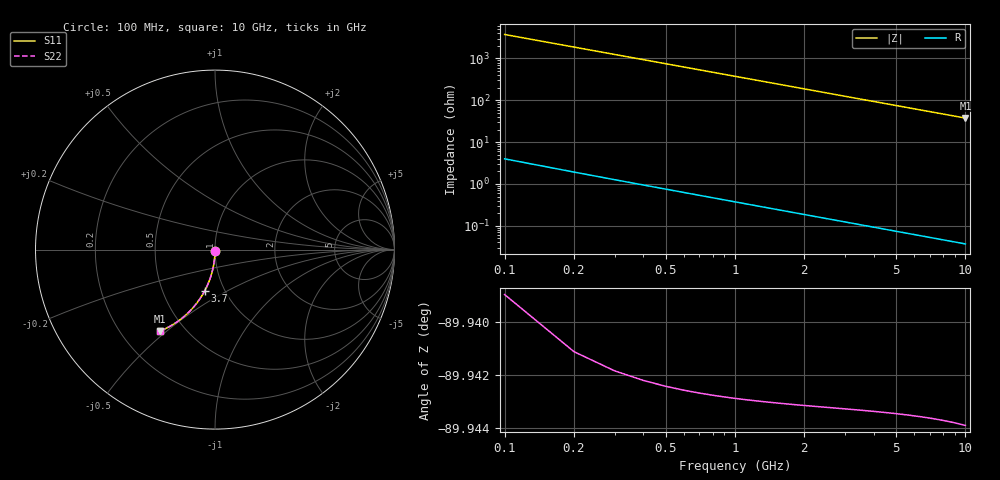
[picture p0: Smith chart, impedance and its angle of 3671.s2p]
# Hz S RI R 50.00
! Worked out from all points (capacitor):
!   100 points, 100 MHz to 10 GHz, reference 50 ohm
!   read as one part in shunt: C = 425 fF near 100 MHz
!   lowest |Z| = 37.6 ohm at 10 GHz (marker M1)
!   S11 on the Smith chart (normalised r, x): 100 MHz: 1.00, -0.01; 3.7 GHz: 0.81, -0.39; 10 GHz: 0.36, -0.47
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1e8  -3.03e-05 -0.00661  0.9999 -0.00674  0.9999 -0.00674  -3.03e-05 -0.00661
2e8  -0.00017 -0.0132  0.9998 -0.0135  0.9998 -0.0135  -0.00017 -0.0132
3e8  -0.0004 -0.0198  0.9996 -0.0202  0.9996 -0.0202  -0.0004 -0.0198
4e8  -0.000718 -0.0264  0.9992 -0.0269  0.9992 -0.0269  -0.000718 -0.0264
5e8  -0.00112 -0.033  0.9988 -0.0337  0.9988 -0.0337  -0.00112 -0.033
6e8  -0.00162 -0.0396  0.9983 -0.0404  0.9983 -0.0404  -0.00162 -0.0396
7e8  -0.0022 -0.0462  0.9978 -0.0471  0.9978 -0.0471  -0.0022 -0.0462
8e8  -0.00287 -0.0527  0.9971 -0.0538  0.9971 -0.0538  -0.00287 -0.0527
9e8  -0.00363 -0.0593  0.9963 -0.0604  0.9963 -0.0604  -0.00363 -0.0593
1.1e9  -0.00541 -0.0723  0.9945 -0.0737  0.9945 -0.0737  -0.00541 -0.0723
1.4e9  -0.00873 -0.0917  0.9912 -0.0935  0.9912 -0.0935  -0.00873 -0.0917
1.8e9  -0.0143 -0.1173  0.9856 -0.1196  0.9856 -0.1196  -0.0143 -0.1173
2.1e9  -0.0194 -0.1361  0.9806 -0.1388  0.9806 -0.1388  -0.0194 -0.1361
2.5e9  -0.0272 -0.1607  0.9727 -0.1639  0.9727 -0.1639  -0.0272 -0.1607
2.9e9  -0.0363 -0.1847  0.9637 -0.1884  0.9637 -0.1884  -0.0363 -0.1847
3.4e9  -0.0492 -0.2136  0.9508 -0.218  0.9508 -0.218  -0.0492 -0.2136
3.7e9  -0.0577 -0.2303  0.9423 -0.2351  0.9423 -0.2351  -0.0577 -0.2303
4.4e9  -0.0796 -0.2674  0.9203 -0.2731  0.9203 -0.2731  -0.0796 -0.2674
5.1e9  -0.1041 -0.3016  0.8959 -0.3082  0.8959 -0.3082  -0.1041 -0.3016
6.7e9  -0.1669 -0.368  0.833 -0.3768  0.833 -0.3768  -0.1669 -0.368
8.4e9  -0.2394 -0.4207  0.7605 -0.4318  0.7605 -0.4318  -0.2394 -0.4207
1e10  -0.3084 -0.4547  0.6915 -0.468  0.6915 -0.468  -0.3084 -0.4547
